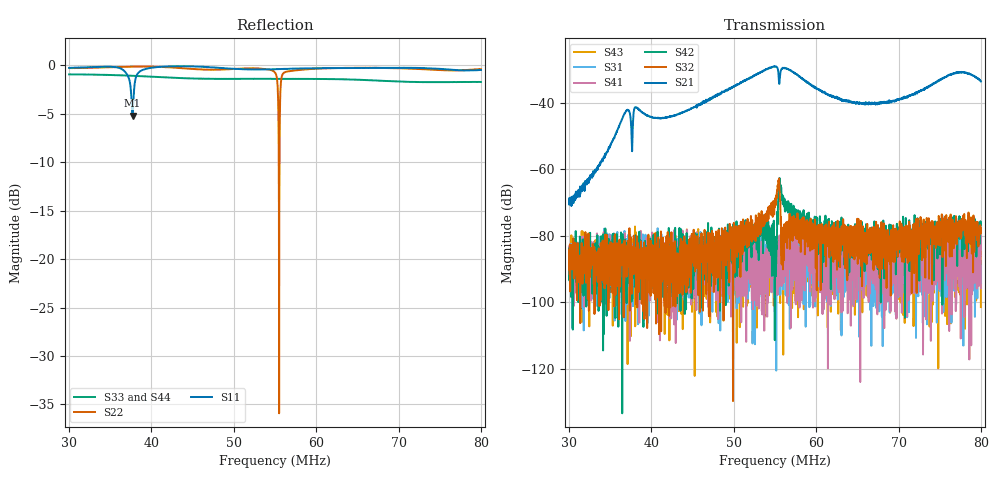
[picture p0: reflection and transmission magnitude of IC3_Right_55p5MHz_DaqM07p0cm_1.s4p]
#  HZ  S  DB  R  50.00
! Rohde & Schwarz Vector Network Analyzer
! Rohde-Schwarz,ZNB8-4Port,1311601044102961,2.82
! Created: UTC 2/13/2019, 2:01:11 PM
! freq[Hz]  db:S11  ang:S11  db:S12  ang:S12  db:S13  ang:S13  db:S14  ang:S14
!  db:S21  ang:S21  db:S22  ang:S22  db:S23  ang:S23  db:S24  ang:S24
!  db:S31  ang:S31  db:S32  ang:S32  db:S33  ang:S33  db:S34  ang:S34
!  db:S41  ang:S41  db:S42  ang:S42  db:S43  ang:S43  db:S44  ang:S44
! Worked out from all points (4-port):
!   2001 points, 30 MHz to 80 MHz, reference 50 ohm
!   strongest paths, dB at 30 MHz, 42.5 MHz, 55 MHz, 67.5 MHz, 80 MHz:
!     S21: -68.8, -44.0, -29.2, -40.4, -33.6
!     S32: -86.1, -91.3, -70.3, -76.8, -77.8
!     S42: -83.8, -94.2, -80.3, -81.1, -76.8
!     S41: -84.7, -84.3, -93.4, -87.6, -95.8
!     S31: -89.0, -86.5, -84.6, -83.6, -94.4
!     S43: -87.5, -89.5, -84.5, -89.6, -101.5
!   lowest |S11| = -5.2 dB at 37.7 MHz (marker M1), VSWR 3.44, Z = 113 - j76.2 ohm
!   |S11| at or under -10 dB: nowhere
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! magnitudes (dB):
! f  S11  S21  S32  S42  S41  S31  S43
! 30 MHz  -0.3  -68.8  -86.1  -83.8  -84.7  -89.0  -87.5
! 37.7 MHz  -5.2  -50.2  -88.8  -86.3  -83.1  -91.0  -91.9
! 51.88 MHz  -0.4  -32.8  -79.3  -77.8  -85.9  -86.6  -91.3
! 54.98 MHz  -0.4  -29.1  -70.6  -111.4  -102.8  -86.9  -91.7
! 55.65 MHz  -0.4  -31.1  -69.6  -65.6  -87.8  -97.7  -84.7
! 60.45 MHz  -0.3  -36.3  -80.7  -74.1  -80.9  -86.5  -83.8
! 80 MHz  -0.5  -33.6  -77.8  -76.8  -95.8  -94.4  -101.5
